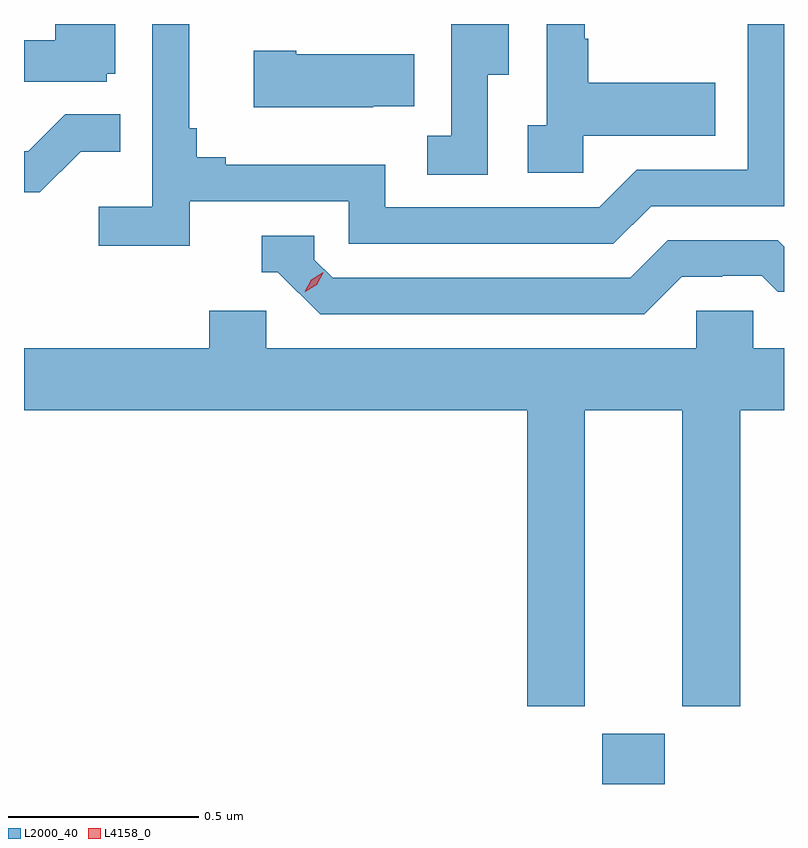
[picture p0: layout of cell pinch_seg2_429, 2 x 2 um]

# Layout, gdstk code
import gdstk
lib = gdstk.Library(unit=1e-6, precision=1e-09)
def R(c, l, rs):  # rectangles x0, y0, x1, y1
    for r in rs: c.add(gdstk.rectangle(r[:2], r[2:], *l))
def P(c, l, *ps):  # polygons
    for p in ps: c.add(gdstk.Polygon(p, *l))
L2000_40 = (2000, 40)
L4158_0 = (4158, 0)

pinch_seg2_429 = lib.new_cell('pinch_seg2_429')
R(pinch_seg2_429, L2000_40, [(1015.046,609.357,1015.21,609.489)])
P(pinch_seg2_429, L2000_40, [(1013.96,610.89),(1014.378,610.89),(1014.378,610.779),(1015.075,610.779),(1015.174,610.878),(1015.524,610.878),(1015.524,611.357),(1015.428,611.357),(1015.428,610.974),(1015.137,610.974),(1015.038,610.875),(1014.474,610.875),(1014.474,610.987),(1014.055,610.987),(1014.055,611.006),(1013.978,611.006),(1013.978,611.083),(1013.959,611.083),(1013.959,611.357),(1013.862,611.357),(1013.862,610.876),(1013.721,610.876),(1013.721,610.774),(1013.96,610.774)],
  [(1013.742,611.226),(1013.764,611.226),(1013.764,611.357),(1013.606,611.357),(1013.606,611.314),(1013.524,611.314),(1013.524,611.205),(1013.742,611.205)],
  [(1014.996,611.063),(1015.343,611.063),(1015.343,611.203),(1015.009,611.203),(1015.009,611.318),(1014.999,611.318),(1014.999,611.357),(1014.9,611.357),(1014.9,611.09),(1014.849,611.09),(1014.849,610.965),(1014.996,610.965)],
  [(1014.744,611.224),(1014.799,611.224),(1014.799,611.357),(1014.648,611.357),(1014.648,611.063),(1014.585,611.063),(1014.585,610.96),(1014.744,610.96)],
  [(1014.443,611.141),(1014.551,611.141),(1014.551,611.278),(1014.241,611.278),(1014.241,611.286),(1014.129,611.286),(1014.129,611.138),(1014.443,611.138)],
  [(1013.673,611.021),(1013.777,611.021),(1013.777,611.12),(1013.633,611.12),(1013.535,611.022),(1013.524,611.022),(1013.524,610.914),(1013.566,610.914)],
  [(1015.255,610.692),(1015.362,610.692),(1015.362,610.695),(1015.465,610.695),(1015.507,610.653),(1015.524,610.653),(1015.524,610.771),(1015.507,610.788),(1015.218,610.788),(1015.119,610.689),(1014.336,610.689),(1014.288,610.737),(1014.288,610.8),(1014.149,610.8),(1014.149,610.704),(1014.192,610.704),(1014.303,610.593),(1015.156,610.593)],
  [(1015,610.34),(1015.256,610.34),(1015.256,609.561),(1015.409,609.561),(1015.409,610.34),(1015.524,610.34),(1015.524,610.504),(1015.443,610.504),(1015.443,610.602),(1015.293,610.602),(1015.293,610.504),(1014.162,610.504),(1014.162,610.602),(1014.011,610.602),(1014.011,610.504),(1013.524,610.504),(1013.524,610.34),(1014.848,610.34),(1014.848,609.561),(1015,609.561)])
P(pinch_seg2_429, L4158_0, [(1014.263,610.652),(1014.263,610.652),(1014.28,610.684),(1014.311,610.704),(1014.312,610.704),(1014.312,610.703),(1014.295,610.671),(1014.264,610.652)])

lib.write_gds('pinch_seg2_429.gds')
